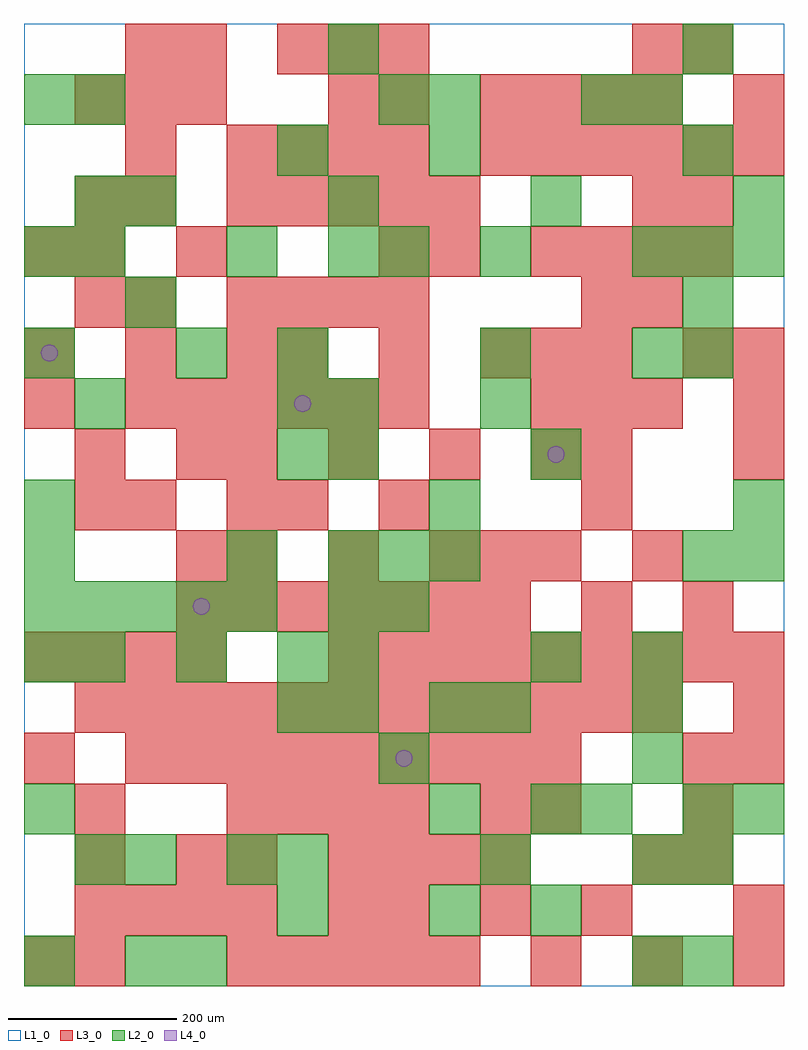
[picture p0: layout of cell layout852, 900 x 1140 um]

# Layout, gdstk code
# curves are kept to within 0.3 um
import gdstk
lib = gdstk.Library(unit=1e-6, precision=1e-09)
def R(c, l, rs):  # rectangles x0, y0, x1, y1
    for r in rs: c.add(gdstk.rectangle(r[:2], r[2:], *l))
def A(c, l, x, y, w, h, nx, ny, dx, dy):  # array of equal rectangles
    R(c, l, [(x+i*dx, y+j*dy, x+i*dx+w, y+j*dy+h) for i in range(nx) for j in range(ny)])
def P(c, l, *ps):  # polygons
    for p in ps: c.add(gdstk.Polygon(p, *l))
L1_0 = (1, 0)
L2_0 = (2, 0)
L3_0 = (3, 0)
L4_0 = (4, 0)

layout852 = lib.new_cell('layout852')
R(layout852, L1_0, [(0,0,900,1140)])
A(layout852, L2_0, 0, 0, 60, 60, 1, 3, 0, 180)
A(layout852, L2_0, 720, 0, 60, 60, 1, 3, 0, 120)
A(layout852, L2_0, 480, 60, 60, 60, 1, 3, 0, 120)
A(layout852, L2_0, 240, 120, 60, 60, 1, 3, 0, 360)
A(layout852, L2_0, 360, 300, 60, 60, 1, 3, 0, 60)
A(layout852, L2_0, 60, 360, 60, 60, 3, 1, 120, 0)
A(layout852, L2_0, 0, 420, 60, 60, 5, 1, 60, 0)
A(layout852, L2_0, 360, 480, 60, 60, 3, 1, 60, 0)
A(layout852, L2_0, 300, 600, 60, 60, 1, 3, 0, 60)
A(layout852, L2_0, 720, 840, 60, 60, 3, 1, 60, 0)
A(layout852, L2_0, 120, 900, 60, 60, 4, 1, 240, 0)
R(layout852, L2_0, [(120,0,180,60), (180,0,240,60), (780,0,840,60), (300,60,360,120), (600,60,660,120), (60,120,120,180), (120,120,180,180), (300,120,360,180), (540,120,600,180), (780,120,840,180), (600,180,660,240), (660,180,720,240), (780,180,840,240), (840,180,900,240), (420,240,480,300), (300,300,360,360), (540,300,600,360), (720,300,780,360), (600,360,660,420), (720,360,780,420), (420,420,480,480), (0,480,60,540), (780,480,840,540), (840,480,900,540), (0,540,60,600), (480,540,540,600), (840,540,900,600), (360,600,420,660), (600,600,660,660), (60,660,120,720), (360,660,420,720), (540,660,600,720), (0,720,60,780), (180,720,240,780), (540,720,600,780), (720,720,780,780), (780,720,840,780), (120,780,180,840), (780,780,840,840), (0,840,60,900), (60,840,120,900), (360,840,420,900), (420,840,480,900), (540,840,600,900), (60,900,120,960), (300,960,360,1020), (480,960,540,1020), (780,960,840,1020), (0,1020,60,1080), (60,1020,120,1080), (420,1020,480,1080), (480,1020,540,1080), (660,1020,720,1080), (720,1020,780,1080), (360,1080,420,1140), (780,1080,840,1140)])
A(layout852, L3_0, 240, 0, 60, 60, 5, 2, 60, 900)
A(layout852, L3_0, 600, 0, 60, 60, 3, 1, 120, 0)
A(layout852, L3_0, 60, 60, 60, 60, 4, 1, 60, 0)
A(layout852, L3_0, 420, 60, 60, 60, 3, 1, 120, 0)
A(layout852, L3_0, 360, 120, 60, 60, 4, 1, 60, 0)
A(layout852, L3_0, 780, 120, 60, 60, 1, 3, 0, 60)
A(layout852, L3_0, 240, 180, 60, 60, 4, 2, 60, 600)
A(layout852, L3_0, 120, 240, 60, 60, 9, 1, 60, 0)
A(layout852, L3_0, 60, 300, 60, 60, 12, 1, 60, 0)
A(layout852, L3_0, 0, 360, 60, 60, 4, 1, 60, 0)
A(layout852, L3_0, 360, 360, 60, 60, 9, 1, 60, 0)
A(layout852, L3_0, 180, 420, 60, 60, 7, 1, 60, 0)
A(layout852, L3_0, 240, 480, 60, 60, 3, 1, 120, 0)
A(layout852, L3_0, 180, 600, 60, 60, 1, 3, 0, 240)
A(layout852, L3_0, 240, 600, 60, 60, 4, 1, 120, 0)
A(layout852, L3_0, 840, 600, 60, 60, 1, 3, 0, 60)
A(layout852, L3_0, 120, 660, 60, 60, 6, 1, 60, 0)
A(layout852, L3_0, 600, 660, 60, 60, 3, 1, 60, 0)
A(layout852, L3_0, 0, 720, 60, 60, 3, 1, 120, 0)
A(layout852, L3_0, 300, 720, 60, 60, 3, 1, 120, 0)
A(layout852, L3_0, 780, 720, 60, 60, 1, 3, 0, 180)
A(layout852, L3_0, 60, 780, 60, 60, 1, 3, 0, 60)
A(layout852, L3_0, 600, 840, 60, 60, 4, 1, 60, 0)
A(layout852, L3_0, 240, 960, 60, 60, 4, 1, 60, 0)
A(layout852, L3_0, 540, 960, 60, 60, 6, 1, 60, 0)
A(layout852, L3_0, 60, 1020, 60, 60, 3, 1, 60, 0)
A(layout852, L3_0, 540, 1020, 60, 60, 4, 1, 60, 0)
A(layout852, L3_0, 300, 1080, 60, 60, 3, 1, 60, 0)
R(layout852, L3_0, [(0,0,60,60), (60,0,120,60), (360,60,420,120), (840,60,900,120), (60,120,120,180), (180,120,240,180), (240,120,300,180), (720,120,780,180), (60,180,120,240), (540,180,600,240), (600,180,660,240), (0,240,60,300), (840,240,900,300), (840,300,900,360), (660,420,720,480), (780,420,840,480), (180,480,240,540), (540,480,600,540), (600,480,660,540), (720,480,780,540), (60,540,120,600), (120,540,180,600), (240,540,300,600), (300,540,360,600), (420,540,480,600), (660,540,720,600), (60,600,120,660), (660,600,720,660), (0,660,60,720), (600,720,660,780), (660,720,720,780), (120,780,180,840), (660,780,720,840), (720,780,780,840), (0,840,60,900), (420,840,480,900), (480,840,540,900), (120,900,180,960), (720,900,780,960), (120,960,180,1020), (360,1020,420,1080), (420,1020,480,1080), (840,1020,900,1080), (120,1080,180,1140), (720,1080,780,1140)])
P(layout852, L4_0, [(40,750),(39.239,753.827),(37.071,757.071),(33.827,759.239),(30,760),(26.173,759.239),(22.929,757.071),(20.761,753.827),(20,750),(20.761,746.173),(22.929,742.929),(26.173,740.761),(30,740),(33.827,740.761),(37.071,742.929),(39.239,746.173)],
  [(220,450),(219.239,453.827),(217.071,457.071),(213.827,459.239),(210,460),(206.173,459.239),(202.929,457.071),(200.761,453.827),(200,450),(200.761,446.173),(202.929,442.929),(206.173,440.761),(210,440),(213.827,440.761),(217.071,442.929),(219.239,446.173)],
  [(340,690),(339.239,693.827),(337.071,697.071),(333.827,699.239),(330,700),(326.173,699.239),(322.929,697.071),(320.761,693.827),(320,690),(320.761,686.173),(322.929,682.929),(326.173,680.761),(330,680),(333.827,680.761),(337.071,682.929),(339.239,686.173)],
  [(460,270),(459.239,273.827),(457.071,277.071),(453.827,279.239),(450,280),(446.173,279.239),(442.929,277.071),(440.761,273.827),(440,270),(440.761,266.173),(442.929,262.929),(446.173,260.761),(450,260),(453.827,260.761),(457.071,262.929),(459.239,266.173)],
  [(640,630),(639.239,633.827),(637.071,637.071),(633.827,639.239),(630,640),(626.173,639.239),(622.929,637.071),(620.761,633.827),(620,630),(620.761,626.173),(622.929,622.929),(626.173,620.761),(630,620),(633.827,620.761),(637.071,622.929),(639.239,626.173)])

lib.write_gds('layout852.gds')
